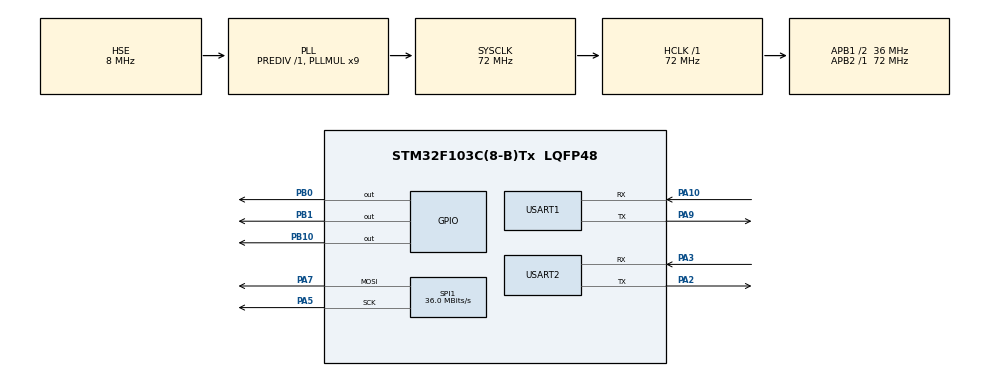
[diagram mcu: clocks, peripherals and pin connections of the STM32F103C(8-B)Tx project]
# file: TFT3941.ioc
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Mcu.Family=STM32F1
Mcu.Name=STM32F103C(8-B)Tx
Mcu.Package=LQFP48
NVIC.PriorityGroup=NVIC_PRIORITYGROUP_4
NVIC.TIM2_IRQn=true\:0\:0\:false\:false\:true\:true\:true\:true
NVIC.USART1_IRQn=true\:0\:0\:false\:false\:true\:true\:true\:true
NVIC.USART2_IRQn=true\:0\:0\:false\:false\:true\:true\:true\:true
PA10.Mode=Asynchronous
PA10.Signal=USART1_RX
PA13.Mode=Serial_Wire
PA13.Signal=SYS_JTMS-SWDIO
PA14.Mode=Serial_Wire
PA14.Signal=SYS_JTCK-SWCLK
PA2.Mode=Asynchronous
PA2.Signal=USART2_TX
PA3.Mode=Asynchronous
PA3.Signal=USART2_RX
PA5.Mode=TX_Only_Simplex_Unidirect_Master
PA5.Signal=SPI1_SCK
PA7.Mode=TX_Only_Simplex_Unidirect_Master
PA7.Signal=SPI1_MOSI
PA9.Mode=Asynchronous
PA9.Signal=USART1_TX
PB0.Signal=GPIO_Output
PB1.Signal=GPIO_Output
PB10.Signal=GPIO_Output
PD0-OSC_IN.Mode=HSE-External-Oscillator
PD0-OSC_IN.Signal=RCC_OSC_IN
PD1-OSC_OUT.Mode=HSE-External-Oscillator
PD1-OSC_OUT.Signal=RCC_OSC_OUT
ProjectManager.HeapSize=0x200
ProjectManager.StackSize=0x400
ProjectManager.TargetToolchain=STM32CubeIDE
RCC.AHBFreq_Value=72000000
RCC.APB1CLKDivider=RCC_HCLK_DIV2
RCC.APB1Freq_Value=36000000
RCC.APB1TimFreq_Value=72000000
RCC.APB2Freq_Value=72000000
RCC.APB2TimFreq_Value=72000000
RCC.HCLKFreq_Value=72000000
RCC.PLLMUL=RCC_PLL_MUL9
RCC.PLLSourceVirtual=RCC_PLLSOURCE_HSE
RCC.SYSCLKFreq_VALUE=72000000
RCC.SYSCLKSource=RCC_SYSCLKSOURCE_PLLCLK
RCC.USBFreq_Value=72000000
SPI1.BaudRatePrescaler=SPI_BAUDRATEPRESCALER_2
SPI1.CalculateBaudRate=36.0 MBits/s
SPI1.Direction=SPI_DIRECTION_2LINES
SPI1.Mode=SPI_MODE_MASTER
SPI1.VirtualType=VM_MASTER
TIM2.Period=999
TIM2.Prescaler=71
USART1.VirtualMode=VM_ASYNC
USART2.VirtualMode=VM_ASYNC
VP_TIM2_VS_ClockSourceINT.Mode=Internal
board=custom

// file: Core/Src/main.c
/* USER CODE BEGIN Header */
/**
  ******************************************************************************
  * @file           : main.c
  * @brief          : Main program body
  ******************************************************************************
  * @attention
  *
  * Copyright (c) 2025 STMicroelectronics.
  * All rights reserved.
  *
  * This software is licensed under terms that can be found in the LICENSE file
  * in the root directory of this software component.
  * If no LICENSE file comes with this software, it is provided AS-IS.
  *
  ******************************************************************************
  */
/* USER CODE END Header */
#include "main.h"

/* USER CODE BEGIN Includes */
#include "stdint.h"
#include <stdio.h>
#include "Displaytft.h"
#include "ili9341.h"
#include "uart_display.h"

/* USER CODE END Includes */

SPI_HandleTypeDef hspi1;

TIM_HandleTypeDef htim2;

UART_HandleTypeDef huart1;
UART_HandleTypeDef huart2;

void SystemClock_Config(void);
static void MX_GPIO_Init(void);
static void MX_SPI1_Init(void);
static void MX_USART1_UART_Init(void);
static void MX_USART2_UART_Init(void);
static void MX_TIM2_Init(void);

/* USER CODE BEGIN 0 */

void HAL_UART_RxCpltCallback(UART_HandleTypeDef *huart)
{
  if (huart == &huart1)
    UARTDisplay_RxCplt();
}

/* USER CODE END 0 */

int main(void)
{

  /* MCU Configuration--------------------------------------------------------*/

  /* Reset of all peripherals, Initializes the Flash interface and the Systick. */
  HAL_Init();

  /* Configure the system clock */
  SystemClock_Config();

  /* Initialize all configured peripherals */
  MX_GPIO_Init();
  MX_SPI1_Init();
  MX_USART1_UART_Init();
  MX_USART2_UART_Init();
  MX_TIM2_Init();
  /* USER CODE BEGIN 2 */
  	HAL_GPIO_WritePin(GPIOB, GPIO_PIN_1, GPIO_PIN_SET); // DC high
    ILI9341_Init();
    UARTDisplay_Init(&huart1);         // start RX IT trên huart1
    UARTDisplay_SetLineCallback(showUARTLine); // đăng ký callback
    UARTDisplay_SetLineCallback(ClearScreen);

    ILI9341_FillScreen(0xFFFF); // White
   // TFT_DrawLayout();
    // ILI9341_DrawPixel(10, 10, 0xF800); // Đỏ
    // ILI9341_DrawPixel(20, 20, 0xFFE0); // Vàng
    // ILI9341_DrawFilledCircle(200, 200, 30, 0x07E0); // Vẽ hình tròn rỗng màu xanh lá

  /* USER CODE END 2 */

  /* Infinite loop */
  while (1)
  {

    /* USER CODE BEGIN 3 */

	    UARTDisplay_Process();
	    HAL_Delay(1000);

  }
  /* USER CODE END 3 */
}

void SystemClock_Config(void)
{
  RCC_OscInitTypeDef RCC_OscInitStruct = {0};
  RCC_ClkInitTypeDef RCC_ClkInitStruct = {0};

  /** Initializes the RCC Oscillators according to the specified parameters
  * in the RCC_OscInitTypeDef structure.
  */
  RCC_OscInitStruct.OscillatorType = RCC_OSCILLATORTYPE_HSE;
  RCC_OscInitStruct.HSEState = RCC_HSE_ON;
  RCC_OscInitStruct.HSEPredivValue = RCC_HSE_PREDIV_DIV1;
  RCC_OscInitStruct.HSIState = RCC_HSI_ON;
  RCC_OscInitStruct.PLL.PLLState = RCC_PLL_ON;
  RCC_OscInitStruct.PLL.PLLSource = RCC_PLLSOURCE_HSE;
  RCC_OscInitStruct.PLL.PLLMUL = RCC_PLL_MUL9;
  if (HAL_RCC_OscConfig(&RCC_OscInitStruct) != HAL_OK)
  {
    Error_Handler();
  }

  /** Initializes the CPU, AHB and APB buses clocks
  */
  RCC_ClkInitStruct.ClockType = RCC_CLOCKTYPE_HCLK|RCC_CLOCKTYPE_SYSCLK
                              |RCC_CLOCKTYPE_PCLK1|RCC_CLOCKTYPE_PCLK2;
  RCC_ClkInitStruct.SYSCLKSource = RCC_SYSCLKSOURCE_PLLCLK;
  RCC_ClkInitStruct.AHBCLKDivider = RCC_SYSCLK_DIV1;
  RCC_ClkInitStruct.APB1CLKDivider = RCC_HCLK_DIV2;
  RCC_ClkInitStruct.APB2CLKDivider = RCC_HCLK_DIV1;

  if (HAL_RCC_ClockConfig(&RCC_ClkInitStruct, FLASH_LATENCY_2) != HAL_OK)
  {
    Error_Handler();
  }
}

static void MX_SPI1_Init(void)
{

  /* SPI1 parameter configuration*/
  hspi1.Instance = SPI1;
  hspi1.Init.Mode = SPI_MODE_MASTER;
  hspi1.Init.Direction = SPI_DIRECTION_2LINES;
  hspi1.Init.DataSize = SPI_DATASIZE_8BIT;
  hspi1.Init.CLKPolarity = SPI_POLARITY_LOW;
  hspi1.Init.CLKPhase = SPI_PHASE_1EDGE;
  hspi1.Init.NSS = SPI_NSS_SOFT;
  hspi1.Init.BaudRatePrescaler = SPI_BAUDRATEPRESCALER_2;
  hspi1.Init.FirstBit = SPI_FIRSTBIT_MSB;
  hspi1.Init.TIMode = SPI_TIMODE_DISABLE;
  hspi1.Init.CRCCalculation = SPI_CRCCALCULATION_DISABLE;
  hspi1.Init.CRCPolynomial = 10;
  if (HAL_SPI_Init(&hspi1) != HAL_OK)
  {
    Error_Handler();
  }

}

static void MX_TIM2_Init(void)
{

  TIM_ClockConfigTypeDef sClockSourceConfig = {0};
  TIM_MasterConfigTypeDef sMasterConfig = {0};

  htim2.Instance = TIM2;
  htim2.Init.Prescaler = 71;
  htim2.Init.CounterMode = TIM_COUNTERMODE_UP;
  htim2.Init.Period = 999;
  htim2.Init.ClockDivision = TIM_CLOCKDIVISION_DIV1;
  htim2.Init.AutoReloadPreload = TIM_AUTORELOAD_PRELOAD_DISABLE;
  if (HAL_TIM_Base_Init(&htim2) != HAL_OK)
  {
    Error_Handler();
  }
  sClockSourceConfig.ClockSource = TIM_CLOCKSOURCE_INTERNAL;
  if (HAL_TIM_ConfigClockSource(&htim2, &sClockSourceConfig) != HAL_OK)
  {
    Error_Handler();
  }
  sMasterConfig.MasterOutputTrigger = TIM_TRGO_RESET;
  sMasterConfig.MasterSlaveMode = TIM_MASTERSLAVEMODE_DISABLE;
  if (HAL_TIMEx_MasterConfigSynchronization(&htim2, &sMasterConfig) != HAL_OK)
  {
    Error_Handler();
  }

}

static void MX_USART1_UART_Init(void)
{

  huart1.Instance = USART1;
  huart1.Init.BaudRate = 115200;
  huart1.Init.WordLength = UART_WORDLENGTH_8B;
  huart1.Init.StopBits = UART_STOPBITS_1;
  huart1.Init.Parity = UART_PARITY_NONE;
  huart1.Init.Mode = UART_MODE_TX_RX;
  huart1.Init.HwFlowCtl = UART_HWCONTROL_NONE;
  huart1.Init.OverSampling = UART_OVERSAMPLING_16;
  if (HAL_UART_Init(&huart1) != HAL_OK)
  {
    Error_Handler();
  }

}

static void MX_USART2_UART_Init(void)
{

  huart2.Instance = USART2;
  huart2.Init.BaudRate = 115200;
  huart2.Init.WordLength = UART_WORDLENGTH_8B;
  huart2.Init.StopBits = UART_STOPBITS_1;
  huart2.Init.Parity = UART_PARITY_NONE;
  huart2.Init.Mode = UART_MODE_TX_RX;
  huart2.Init.HwFlowCtl = UART_HWCONTROL_NONE;
  huart2.Init.OverSampling = UART_OVERSAMPLING_16;
  if (HAL_UART_Init(&huart2) != HAL_OK)
  {
    Error_Handler();
  }

}

static void MX_GPIO_Init(void)
{
  GPIO_InitTypeDef GPIO_InitStruct = {0};

  /* GPIO Ports Clock Enable */
  __HAL_RCC_GPIOD_CLK_ENABLE();
  __HAL_RCC_GPIOA_CLK_ENABLE();
  __HAL_RCC_GPIOB_CLK_ENABLE();

  /*Configure GPIO pin Output Level */
  HAL_GPIO_WritePin(GPIOB, GPIO_PIN_0|GPIO_PIN_1|GPIO_PIN_10, GPIO_PIN_RESET);

  /*Configure GPIO pins : PB0 PB1 PB10 */
  GPIO_InitStruct.Pin = GPIO_PIN_0|GPIO_PIN_1|GPIO_PIN_10;
  GPIO_InitStruct.Mode = GPIO_MODE_OUTPUT_PP;
  GPIO_InitStruct.Pull = GPIO_NOPULL;
  GPIO_InitStruct.Speed = GPIO_SPEED_FREQ_LOW;
  HAL_GPIO_Init(GPIOB, &GPIO_InitStruct);

}

void Error_Handler(void)
{
  __disable_irq();
  while (1)
  {
  }
}
